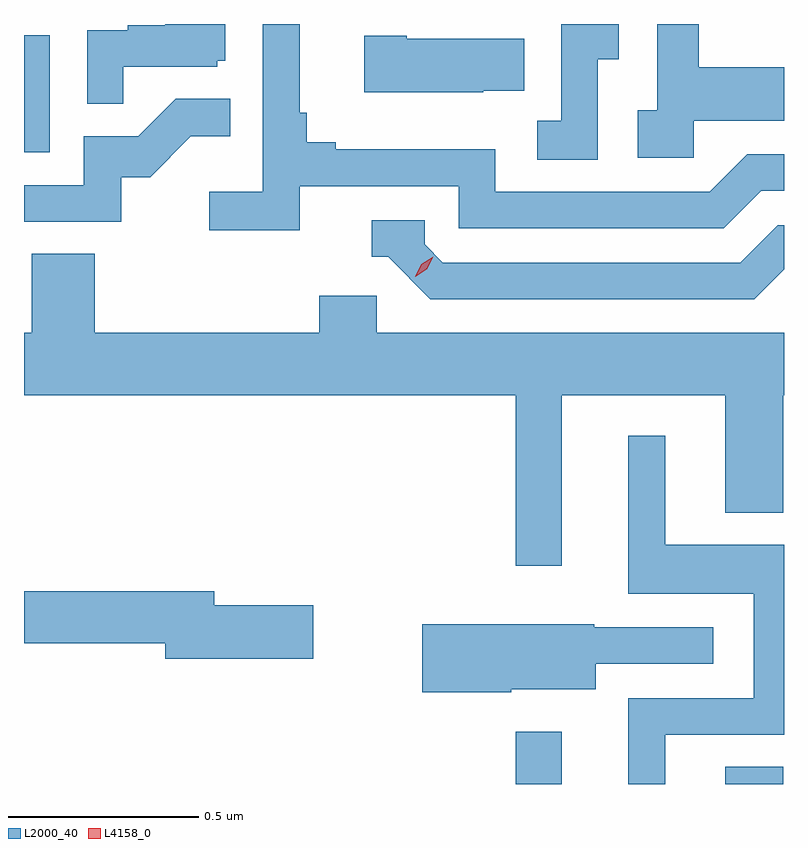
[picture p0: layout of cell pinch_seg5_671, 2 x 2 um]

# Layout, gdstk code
import gdstk
lib = gdstk.Library(unit=1e-6, precision=1e-09)
def R(c, l, rs):  # rectangles x0, y0, x1, y1
    for r in rs: c.add(gdstk.rectangle(r[:2], r[2:], *l))
def P(c, l, *ps):  # polygons
    for p in ps: c.add(gdstk.Polygon(p, *l))
L2000_40 = (2000, 40)
L4158_0 = (4158, 0)

pinch_seg5_671 = lib.new_cell('pinch_seg5_671')
R(pinch_seg5_671, L2000_40, [(1060.482,851.741,1060.603,851.878), (1061.033,851.741,1061.186,851.786), (1059.188,853.404,1059.256,853.711)])
P(pinch_seg5_671, L2000_40, [(1060.698,853.648),(1060.753,853.648),(1060.753,853.741),(1060.602,853.741),(1060.602,853.487),(1060.539,853.487),(1060.539,853.384),(1060.698,853.384)],
  [(1059.914,853.314),(1060.332,853.314),(1060.332,853.203),(1061.029,853.203),(1061.128,853.302),(1061.188,853.302),(1061.188,853.398),(1061.091,853.398),(1060.992,853.299),(1060.428,853.299),(1060.428,853.411),(1060.009,853.411),(1060.009,853.43),(1059.932,853.43),(1059.932,853.507),(1059.913,853.507),(1059.913,853.741),(1059.816,853.741),(1059.816,853.3),(1059.675,853.3),(1059.675,853.198),(1059.914,853.198)],
  [(1060.95,853.487),(1061.188,853.487),(1061.188,853.627),(1060.963,853.627),(1060.963,853.741),(1060.854,853.741),(1060.854,853.514),(1060.803,853.514),(1060.803,853.389),(1060.95,853.389)],
  [(1059.449,853.629),(1059.696,853.629),(1059.696,853.644),(1059.718,853.644),(1059.718,853.741),(1059.56,853.741),(1059.56,853.738),(1059.461,853.738),(1059.461,853.725),(1059.354,853.725),(1059.354,853.531),(1059.449,853.531)],
  [(1060.397,853.565),(1060.505,853.565),(1060.505,853.702),(1060.195,853.702),(1060.195,853.71),(1060.083,853.71),(1060.083,853.562),(1060.397,853.562)],
  [(1059.444,853.338),(1059.52,853.338),(1059.627,853.445),(1059.731,853.445),(1059.731,853.544),(1059.587,853.544),(1059.489,853.446),(1059.345,853.446),(1059.345,853.317),(1059.188,853.317),(1059.188,853.221),(1059.444,853.221)],
  [(1061.188,853.095),(1061.188,853.212),(1061.172,853.212),(1061.073,853.113),(1060.29,853.113),(1060.242,853.161),(1060.242,853.224),(1060.103,853.224),(1060.103,853.128),(1060.146,853.128),(1060.257,853.017),(1061.11,853.017)],
  [(1060.603,852.764),(1061.033,852.764),(1061.033,852.455),(1061.186,852.455),(1061.186,852.764),(1061.188,852.764),(1061.188,852.928),(1060.116,852.928),(1060.116,853.026),(1059.965,853.026),(1059.965,852.928),(1059.374,852.928),(1059.374,853.136),(1059.209,853.136),(1059.209,852.928),(1059.188,852.928),(1059.188,852.764),(1060.482,852.764),(1060.482,852.315),(1060.603,852.315)],
  [(1060.876,851.871),(1061.188,851.871),(1061.188,852.37),(1060.876,852.37),(1060.876,852.658),(1060.778,852.658),(1060.778,852.242),(1061.108,852.242),(1061.108,851.967),(1060.778,851.967),(1060.778,851.741),(1060.876,851.741)],
  [(1059.949,852.212),(1059.688,852.212),(1059.688,852.248),(1059.188,852.248),(1059.188,852.112),(1059.56,852.112),(1059.56,852.07),(1059.949,852.07)],
  [(1060.47,851.99),(1060.693,851.99),(1060.693,852.057),(1061.002,852.057),(1061.002,852.153),(1060.689,852.153),(1060.689,852.161),(1060.236,852.161),(1060.236,851.983),(1060.47,851.983)])
P(pinch_seg5_671, L4158_0, [(1060.217,853.076),(1060.217,853.076),(1060.234,853.109),(1060.265,853.128),(1060.265,853.128),(1060.265,853.128),(1060.248,853.095),(1060.217,853.076)])

lib.write_gds('pinch_seg5_671.gds')
